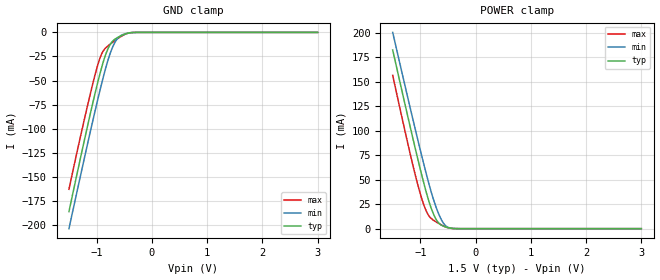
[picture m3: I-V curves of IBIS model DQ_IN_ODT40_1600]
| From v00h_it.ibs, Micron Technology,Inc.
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| MODEL DQ_IN_ODT40_1600 (Data Input with 40ohm ODT, 1333/1600/1866Mbps)
[Model]   DQ_IN_ODT40_1600
Model_type   Input
Vinl = 600.000mV
Vinh = 900.000mV
|   typ   min   max
|C_comp   1.023pF   0.931pF   1.130pF
C_comp_power_clamp   0.5115pF   0.4655pF   0.5650pF
C_comp_gnd_clamp   0.5115pF   0.4655pF   0.5650pF
| Note: C_comp changes when the ODT circuit is enabled.
[Model Spec]
| Input threshold voltage corners
Vinl   0.6000V   0.5625V   0.6375V
Vinh   0.9000V   0.8625V   0.9375V
| Dynamic Overshoot Parameters from DDR3 Specification
|D_overshoot_ampl_h   0.40   NA   NA
|D_overshoot_ampl_l   0.40   NA   NA
|D_overshoot_area_h   0.13n   NA   NA
|D_overshoot_area_l   0.13n   NA   NA
[Receiver Thresholds]
Vth   =  0.750V
Vth_min  =  0.7350V
Vth_max  =  0.7650V
Vinh_ac  =  0.150V
Vinh_dc  =  0.100V
Vinl_ac  = -0.150V
Vinl_dc  = -0.100V
Tslew_ac =  5.000ns |Not specified, so set to high value
Threshold_sensitivity = 0.50
Reference_supply Power_clamp_ref
[Voltage Range]   1.5000V   1.4250V   1.5750V
[POWER Clamp Reference]   1.5000V   1.4250V   1.5750V
| Junction Temperature (Ambient temp is 35C typ, 95C min, -40C max)
[Temperature Range]   50.0   110.0   -40.0
[Add Submodel]
| Submodel Name   Mode
40ohm_ODT_1600   Non-Driving
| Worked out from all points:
|   GND clamp passes 1 mA (typ) near -0.44 V on its own axis
|   POWER clamp passes 1 mA (typ) near -0.50 V on its own axis
[GND Clamp]
|   Voltage   I(typ)   I(min)   I(max)
-1.5V     -186mA     -203.8mA   -162.9mA
-1.33V    -140.6mA   -159mA     -118mA
-1.16V    -96.29mA   -115mA     -75.17mA
-1.025V   -62.75mA   -81.02mA   -43.46mA
-955mV    -46.52mA   -64.07mA   -29.42mA
-875mV    -29.9mA    -45.65mA   -18.9mA
-780mV    -15.32mA   -26.33mA   -13.39mA
-690mV    -8.081mA   -12.81mA   -9.414mA
-595mV    -4.546mA   -4.833mA   -5.588mA
-495mV    -1.973mA   -1.623mA   -2.281mA
-350mV    -169.9uA   -150.1uA   -108.9uA
3V        0A         0A         0A
[POWER Clamp]
|   Voltage   I(typ)   I(min)   I(max)
-1.5V     182.5mA    200.5mA    156.6mA
-1.13V    91.09mA    110.6mA    63.67mA
-1.025V   66.3mA     85.93mA    40.54mA
-940mV    47.17mA    66.52mA    24.81mA
-845mV    27.99mA    45.93mA    13.09mA
-735mV    11.71mA    25.19mA    7.634mA
-680mV    6.638mA    16.76mA    5.727mA
-625mV    3.817mA    9.777mA    3.983mA
-535mV    1.566mA    2.695mA    1.641mA
-455mV    515.8uA    642.7uA    415.3uA
-305mV    19.82uA    29.17uA    4.375uA
3V        0A         0A         0A
